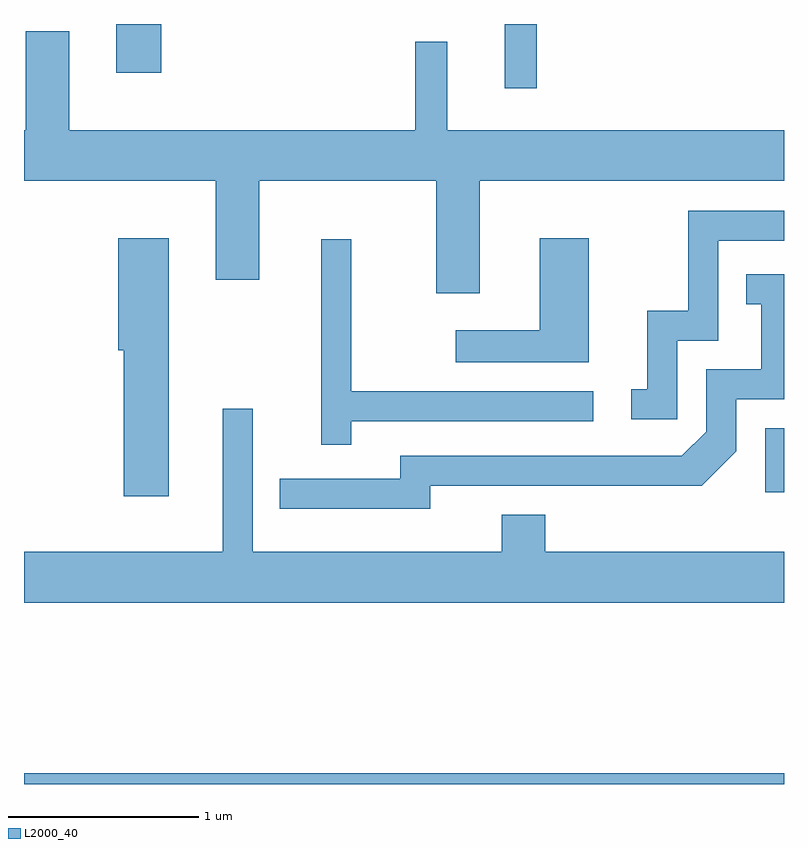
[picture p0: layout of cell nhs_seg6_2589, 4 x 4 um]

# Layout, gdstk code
import gdstk
lib = gdstk.Library(unit=1e-6, precision=1e-09)
def R(c, l, rs):  # rectangles x0, y0, x1, y1
    for r in rs: c.add(gdstk.rectangle(r[:2], r[2:], *l))
def P(c, l, *ps):  # polygons
    for p in ps: c.add(gdstk.Polygon(p, *l))
L2000_40 = (2000, 40)

nhs_seg6_2589 = lib.new_cell('nhs_seg6_2589')
R(nhs_seg6_2589, L2000_40, [(263.611,1580.162,267.611,1580.219), (267.511,1581.698,267.611,1582.034), (266.141,1583.823,266.309,1584.162), (264.096,1583.906,264.334,1584.162)])
P(nhs_seg6_2589, L2000_40, [(264.621,1582.816),(264.849,1582.816),(264.849,1583.336),(265.781,1583.336),(265.781,1582.746),(266.009,1582.746),(266.009,1583.336),(267.611,1583.336),(267.611,1583.604),(265.839,1583.604),(265.839,1584.068),(265.671,1584.068),(265.671,1583.604),(263.849,1583.604),(263.849,1584.124),(263.621,1584.124),(263.621,1583.604),(263.611,1583.604),(263.611,1583.336),(264.621,1583.336)],
  [(267.049,1582.496),(267.264,1582.496),(267.264,1583.021),(267.611,1583.021),(267.611,1583.179),(267.106,1583.179),(267.106,1582.654),(266.891,1582.654),(266.891,1582.239),(266.808,1582.239),(266.808,1582.081),(267.049,1582.081)],
  [(264.374,1583.034),(264.106,1583.034),(264.106,1582.446),(264.136,1582.446),(264.136,1581.676),(264.374,1581.676)],
  [(266.584,1583.034),(266.326,1583.034),(266.326,1582.549),(265.883,1582.549),(265.883,1582.381),(266.584,1582.381)],
  [(265.334,1582.071),(266.608,1582.071),(266.608,1582.229),(265.334,1582.229),(265.334,1583.028),(265.176,1583.028),(265.176,1581.948),(265.334,1581.948)],
  [(265.749,1581.731),(267.177,1581.731),(267.359,1581.914),(267.359,1582.186),(267.611,1582.186),(267.611,1582.844),(267.413,1582.844),(267.413,1582.686),(267.491,1582.686),(267.491,1582.344),(267.201,1582.344),(267.201,1582.017),(267.074,1581.889),(265.591,1581.889),(265.591,1581.769),(264.958,1581.769),(264.958,1581.611),(265.749,1581.611)],
  [(267.611,1581.384),(266.354,1581.384),(266.354,1581.579),(266.126,1581.579),(266.126,1581.384),(264.814,1581.384),(264.814,1582.138),(264.656,1582.138),(264.656,1581.384),(263.611,1581.384),(263.611,1581.116),(267.611,1581.116)])

lib.write_gds('nhs_seg6_2589.gds')
